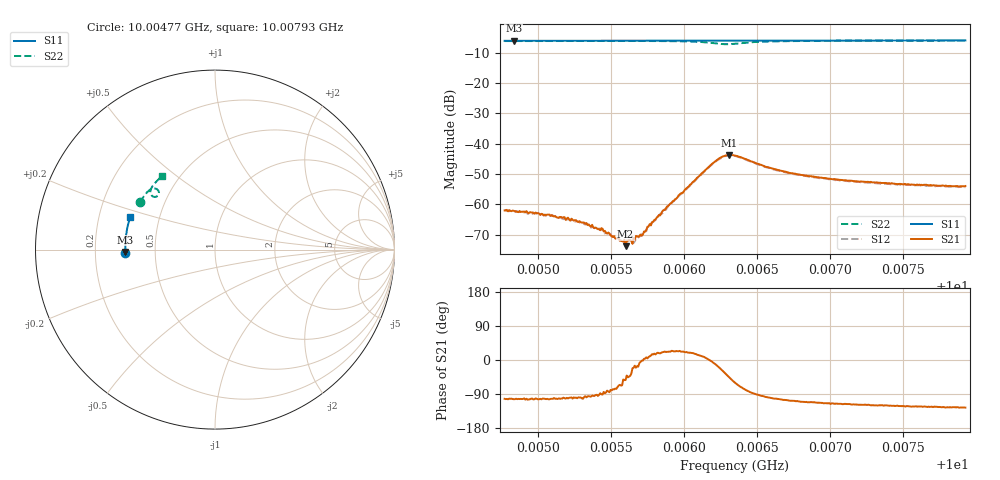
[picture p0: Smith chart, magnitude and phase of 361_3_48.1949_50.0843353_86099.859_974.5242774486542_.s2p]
#  HZ  S  RI  R  50.00
! Rohde & Schwarz Vector Network Analyzer
! Rohde-Schwarz,ZNB20-2Port,1311601062101988,3.16
! Created: UTC 3/20/2024, 11:52:13 AM
! freq[Hz]  re:S11  im:S11  re:S21  im:S21  re:S12  im:S12  re:S22  im:S22
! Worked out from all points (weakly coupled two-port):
!   401 points, 10.00477 GHz to 10.00793 GHz, reference 50 ohm
!   highest |S21| = -43.73 dB at 10.00631 GHz (marker M1); lowest = -73.8 dB at 10.0056 GHz (marker M2)
!   lowest |S11| = -6.0 dB at 10.00483 GHz (marker M3), VSWR 2.99, Z = 16.7 - j0.581 ohm
!   |S11| at or under -10 dB: nowhere
!   |S22| runs from -7.2 to -6.0 dB; largest |S21 - S12| = 0.00037
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1.0004768e10  -0.4989 -0.0173  -0.000171 -0.000772  -0.000141 -0.000793  -0.4172 0.264
1.0004831e10  -0.499 -0.0131  -0.00018 -0.000755  -0.00012 -0.00076  -0.4152 0.2677
1.0005107e10  -0.5 0.00496  -0.000114 -0.000624  -0.00011 -0.000619  -0.4051 0.2839
1.0005297e10  -0.5 0.0171  -9.44e-05 -0.000488  -4.6e-05 -0.000489  -0.3976 0.2953
1.0005439e10  -0.4997 0.0265  -8.88e-06 -0.000395  3.64e-05 -0.000369  -0.3914 0.3038
1.0005518e10  -0.4997 0.0315  6.34e-05 -0.000291  9.57e-05 -0.000276  -0.3877 0.3086
1.0005574e10  -0.4997 0.0352  9.77e-05 -0.000226  0.000147 -0.000202  -0.3849 0.3122
1.0005597e10  -0.4995 0.0366  0.000123 -0.000162  0.000163 -0.000166  -0.3836 0.3134
1.0005645e10  -0.4995 0.0396  0.000207 -8.25e-05  0.000209 -0.000101  -0.381 0.3164
1.0005661e10  -0.4993 0.0408  0.000253 -6.78e-05  0.000222 -0.000104  -0.3802 0.3175
1.0005724e10  -0.4991 0.045  0.000354 1.88e-05  0.000358 5.32e-06  -0.3765 0.3214
1.0005763e10  -0.499 0.0473  0.000464 7.87e-05  0.000433 0.000101  -0.3739 0.3239
1.0005827e10  -0.4987 0.0514  0.000632 0.000206  0.000609 0.000219  -0.3694 0.328
1.0006198e10  -0.496 0.0754  0.00476 -0.000574  0.00467 -0.000333  -0.3169 0.3298
1.0006253e10  -0.4954 0.0788  0.0054 -0.00249  0.0054 -0.00216  -0.3128 0.3126
1.0006309e10  -0.4949 0.0819  0.00453 -0.00468  0.00466 -0.00434  -0.3238 0.2966
1.0006348e10  -0.4948 0.0844  0.00317 -0.0055  0.00342 -0.00524  -0.3365 0.2934
1.0006617e10  -0.4925 0.1018  -0.000785 -0.00374  -0.000543 -0.00369  -0.3587 0.3321
1.0006878e10  -0.4892 0.1184  -0.00104 -0.00265  -0.000925 -0.00264  -0.3473 0.3548
1.0007083e10  -0.4865 0.1311  -0.00112 -0.00224  -0.000984 -0.00228  -0.3371 0.3679
1.0007407e10  -0.4813 0.1514  -0.00114 -0.00191  -0.001 -0.00191  -0.3209 0.3851
1.0007929e10  -0.4712 0.1834  -0.00116 -0.00162  -0.00102 -0.00161  -0.2944 0.4086
